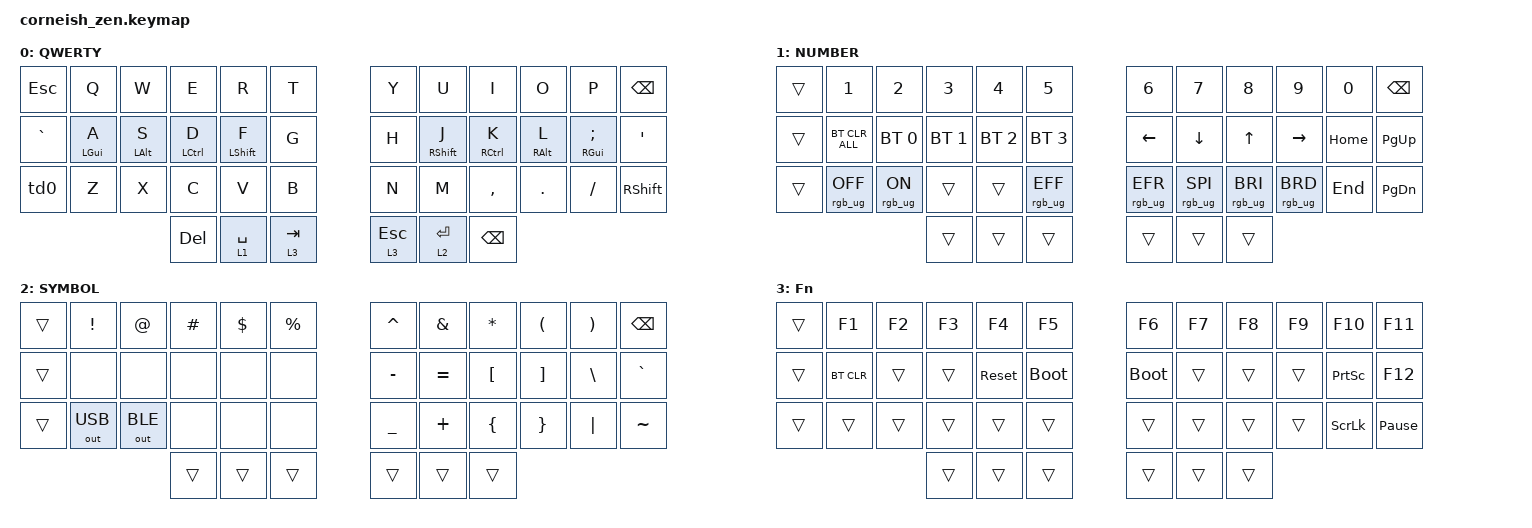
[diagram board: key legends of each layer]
/*
 * Copyright (c) 2020 The ZMK Contributors
 *
 * SPDX-License-Identifier: MIT
 */

#include <behaviors.dtsi>
#include <dt-bindings/zmk/bt.h>
#include <dt-bindings/zmk/keys.h>
#include <dt-bindings/zmk/outputs.h>
#include <dt-bindings/zmk/rgb.h>

/ {
    chosen {
        zmk,matrix_transform = &default_transform;

        // zmk,matrix_transform = &five_column_transform;
    };
};

/ {
    behaviors {
        td0: td0 {
            compatible = "zmk,behavior-tap-dance";
            label = "TD0";
            #binding-cells = <0>;
            bindings = <&kp LEFT_SHIFT>, <&kp CAPS>;
        };
    };

    keymap {
        compatible = "zmk,keymap";

        default_layer {
            display-name = "QWERTY";

            // --------------------------------------------------------------------------------
            // |  TAB |  Q  |  W  |  E  |  R  |  T  |   |  Y  |  U   |  I  |  O  |  P  | BKSP |
            // | CTRL |  A  |  S  |  D  |  F  |  G  |   |  H  |  J   |  K  |  L  |  ;  |  '   | 
            // | SHFT |  Z  |  X  |  C  |  V  |  B  |   |  N  |  M   |  ,  |  .  |  /  | ESC  |
            //                    | GUI | LWR | SPC |   | ENT | RSE  | ALT |

            bindings = <
&kp ESCAPE  &kp Q           &kp W           &kp E               &kp R             &kp T        &kp Y         &kp U              &kp I                &kp O            &kp P                    &kp BSPC
&kp GRAVE   &mt LEFT_GUI A  &mt LEFT_ALT S  &mt LEFT_CONTROL D  &mt LEFT_SHIFT F  &kp G        &kp H         &mt RIGHT_SHIFT J  &mt RIGHT_CONTROL K  &mt RIGHT_ALT L  &mt RIGHT_GUI SEMICOLON  &kp SQT
&td0        &kp Z           &kp X           &kp C               &kp V             &kp B        &kp N         &kp M              &kp COMMA            &kp DOT          &kp FSLH                 &kp RIGHT_SHIFT
                                            &kp DELETE          &lt 1 SPACE       &lt 3 TAB    &lt 3 ESCAPE  &lt 2 ENTER        &kp BACKSPACE
            >;
        };

        lower_layer {
            display-name = "NUMBER";

            // -----------------------------------------------------------------------------------------
            // |  TAB |  1  |  2  |  3  |  4  |  5  |   |  6  |  7  |  8  |  9  |  0  | BKSP |
            // | BTCLR| BT1 | BT2 | BT3 | BT4 | BT5 |   | LFT | DWN |  UP | RGT |     |      |
            // | SHFT |     |     |     |     |     |   |     |     |     |     |     |      |
            //                    | GUI |     | SPC |   | ENT |     | ALT |

            bindings = <
&trans  &kp N1           &kp N2          &kp N3        &kp N4        &kp N5             &kp N6           &kp N7           &kp N8           &kp N9           &kp N0    &kp BSPC
&trans  &bt BT_CLR_ALL   &bt BT_SEL 0    &bt BT_SEL 1  &bt BT_SEL 2  &bt BT_SEL 3       &kp LEFT         &kp DOWN         &kp UP           &kp RIGHT        &kp HOME  &kp PG_UP
&trans  &rgb_ug RGB_OFF  &rgb_ug RGB_ON  &trans        &trans        &rgb_ug RGB_EFF    &rgb_ug RGB_EFR  &rgb_ug RGB_SPI  &rgb_ug RGB_BRI  &rgb_ug RGB_BRD  &kp END   &kp PG_DN
                                         &trans        &trans        &trans             &trans           &trans           &trans
            >;
        };

        raise_layer {
            display-name = "SYMBOL";

            // -----------------------------------------------------------------------------------------
            // |  TAB |  !  |  @  |  #  |  $  |  %  |   |  ^  |  &  |  *  |  (  |  )  | BKSP |
            // | CTRL |     |     |     |     |     |   |  -  |  =  |  [  |  ]  |  \  |  `   |
            // | SHFT |     |     |     |     |     |   |  _  |  +  |  {  |  }  | "|" |  ~   |
            //                    | GUI |     | SPC |   | ENT |     | ALT |

            bindings = <
&trans  &kp EXCL      &kp AT        &kp HASH  &kp DLLR  &kp PRCNT    &kp CARET  &kp AMPS   &kp ASTRK  &kp LPAR  &kp RPAR  &kp BSPC
&trans  &none         &none         &none     &none     &none        &kp MINUS  &kp EQUAL  &kp LBKT   &kp RBKT  &kp BSLH  &kp GRAVE
&trans  &out OUT_USB  &out OUT_BLE  &none     &none     &none        &kp UNDER  &kp PLUS   &kp LBRC   &kp RBRC  &kp PIPE  &kp TILDE
                                    &trans    &trans    &trans       &trans     &trans     &trans
            >;
        };

        layer_3 {
            display-name = "Fn";
            bindings = <
&trans  &kp F1      &kp F2  &kp F3  &kp F4      &kp F5         &kp F6       &kp F7  &kp F8  &kp F9  &kp F10          &kp F11
&trans  &bt BT_CLR  &trans  &trans  &sys_reset  &bootloader    &bootloader  &trans  &trans  &trans  &kp PRINTSCREEN  &kp F12
&trans  &trans      &trans  &trans  &trans      &trans         &trans       &trans  &trans  &trans  &kp SCROLLLOCK   &kp PAUSE_BREAK
                            &trans  &trans      &trans         &trans       &trans  &trans
            >;
        };
    };
};
